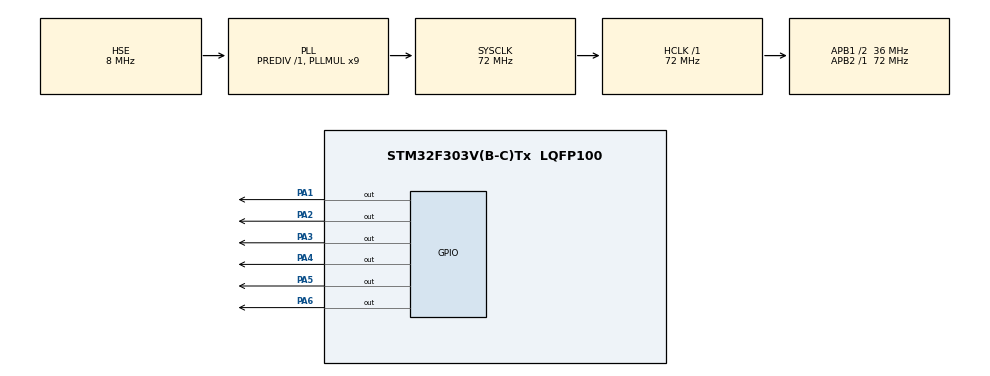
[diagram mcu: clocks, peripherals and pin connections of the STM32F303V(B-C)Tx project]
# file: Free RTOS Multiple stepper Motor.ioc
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FREERTOS.Tasks01=Motor1,0,128,StartMotor1,Default,NULL,Dynamic,NULL,NULL;Motor2,-3,128,StartMotor2,Default,NULL,Dynamic,NULL,NULL
FREERTOS.configUSE_NEWLIB_REENTRANT=1
Mcu.Family=STM32F3
Mcu.Name=STM32F303V(B-C)Tx
Mcu.Package=LQFP100
NVIC.PriorityGroup=NVIC_PRIORITYGROUP_4
NVIC.TIM3_IRQn=true\:15\:0\:false\:false\:true\:false\:false\:true\:true
NVIC.TimeBase=TIM3_IRQn
NVIC.TimeBaseIP=TIM3
PA1.Signal=GPIO_Output
PA13.Mode=Serial_Wire
PA13.Signal=SYS_JTMS-SWDIO
PA14.Mode=Serial_Wire
PA14.Signal=SYS_JTCK-SWCLK
PA2.Signal=GPIO_Output
PA3.Signal=GPIO_Output
PA4.Signal=GPIO_Output
PA5.Signal=GPIO_Output
PA6.Signal=GPIO_Output
PF0-OSC_IN.Mode=HSE-External-Oscillator
PF0-OSC_IN.Signal=RCC_OSC_IN
PF1-OSC_OUT.Mode=HSE-External-Oscillator
PF1-OSC_OUT.Signal=RCC_OSC_OUT
ProjectManager.HeapSize=0x200
ProjectManager.StackSize=0x400
ProjectManager.TargetToolchain=STM32CubeIDE
RCC.AHBFreq_Value=72000000
RCC.APB1CLKDivider=RCC_HCLK_DIV2
RCC.APB1Freq_Value=36000000
RCC.APB1TimFreq_Value=72000000
RCC.APB2Freq_Value=72000000
RCC.APB2TimFreq_Value=72000000
RCC.CortexFreq_Value=72000000
RCC.HCLKFreq_Value=72000000
RCC.HSE_VALUE=8000000
RCC.HSI_VALUE=8000000
RCC.LSE_VALUE=32768
RCC.PLLMUL=RCC_PLL_MUL9
RCC.PLLSourceVirtual=RCC_PLLSOURCE_HSE
RCC.SYSCLKFreq_VALUE=72000000
RCC.SYSCLKSourceVirtual=RCC_SYSCLKSOURCE_PLLCLK
RCC.USBFreq_Value=72000000
TIM1.Prescaler=71
TIM2.Prescaler=71
VP_FREERTOS_VS_CMSIS_V1.Mode=CMSIS_V1
VP_SYS_VS_tim3.Mode=TIM3
VP_TIM1_VS_ClockSourceINT.Mode=Internal
VP_TIM2_VS_ClockSourceINT.Mode=Internal
board=custom

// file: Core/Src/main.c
/* USER CODE BEGIN Header */
/**
  ******************************************************************************
  * @file           : main.c
  * @brief          : Main program body
  ******************************************************************************
  * @attention
  *
  * Copyright (c) 2024 STMicroelectronics.
  * All rights reserved.
  *
  * This software is licensed under terms that can be found in the LICENSE file
  * in the root directory of this software component.
  * If no LICENSE file comes with this software, it is provided AS-IS.
  *
  ******************************************************************************
  */
/* USER CODE END Header */
#include "main.h"
#include "cmsis_os.h"

TIM_HandleTypeDef htim1;
TIM_HandleTypeDef htim2;

osThreadId Motor1Handle;
osThreadId Motor2Handle;

void SystemClock_Config(void);
static void MX_GPIO_Init(void);
static void MX_TIM1_Init(void);
static void MX_TIM2_Init(void);
void StartMotor1(void const * argument);
void StartMotor2(void const * argument);

/* USER CODE BEGIN 0 */

#define DIR_PIN GPIO_PIN_1  // for motor1
#define DIR_PORT GPIOA      // for motor1
#define STEP_PIN GPIO_PIN_2 // for motor1
#define STEP_PORT GPIOA     // for motor1
#define IN1_PIN GPIO_PIN_6  // for motor2
#define IN1_PORT GPIOA      // for motor2
#define IN2_PIN GPIO_PIN_5  // for motor2
#define IN2_PORT GPIOA      // for motor2
#define IN3_PIN GPIO_PIN_4  // for motor2
#define IN3_PORT GPIOA      // for motor2
#define IN4_PIN GPIO_PIN_3  // for motor2
#define IN4_PORT GPIOA      // for motor2

// micro seconds delay for motor1
void microDelay1 (uint16_t delay)
{
  __HAL_TIM_SET_COUNTER(&htim1, 0);
  while (__HAL_TIM_GET_COUNTER(&htim1) < delay);
}

// micro seconds delay for motor2
void microDelay2 (uint16_t delay)
{
  __HAL_TIM_SET_COUNTER(&htim2, 0);
  while (__HAL_TIM_GET_COUNTER(&htim2) < delay);
}

// motor1 for both directions
void step (int steps, uint8_t direction, uint16_t delay)
{
  int x;
  if (direction == 0)
    HAL_GPIO_WritePin(DIR_PORT, DIR_PIN, GPIO_PIN_SET);
  else
    HAL_GPIO_WritePin(DIR_PORT, DIR_PIN, GPIO_PIN_RESET);
  for(x=0; x<steps; x=x+1)
  {
    HAL_GPIO_WritePin(STEP_PORT, STEP_PIN, GPIO_PIN_SET);
    microDelay1(delay);
    HAL_GPIO_WritePin(STEP_PORT, STEP_PIN, GPIO_PIN_RESET);
    microDelay1(delay);
  }
}
// CCV - Counter Clockwise motor2
void stepCCV (int steps, uint16_t delay)
{
  for(int x=0; x<steps; x=x+1)
  {
    HAL_GPIO_WritePin(IN1_PORT, IN1_PIN, GPIO_PIN_SET);   // IN1
    HAL_GPIO_WritePin(IN2_PORT, IN2_PIN, GPIO_PIN_RESET); // IN2
    HAL_GPIO_WritePin(IN3_PORT, IN3_PIN, GPIO_PIN_RESET); // IN3
    HAL_GPIO_WritePin(IN4_PORT, IN4_PIN, GPIO_PIN_RESET); // IN4
    microDelay2(delay);
    HAL_GPIO_WritePin(IN1_PORT, IN1_PIN, GPIO_PIN_SET);   // IN1
    HAL_GPIO_WritePin(IN2_PORT, IN2_PIN, GPIO_PIN_SET);   // IN2
    HAL_GPIO_WritePin(IN3_PORT, IN3_PIN, GPIO_PIN_RESET); // IN3
    HAL_GPIO_WritePin(IN4_PORT, IN4_PIN, GPIO_PIN_RESET); // IN4
    microDelay2(delay);
    HAL_GPIO_WritePin(IN1_PORT, IN1_PIN, GPIO_PIN_RESET); // IN1
    HAL_GPIO_WritePin(IN2_PORT, IN2_PIN, GPIO_PIN_SET);   // IN2
    HAL_GPIO_WritePin(IN3_PORT, IN3_PIN, GPIO_PIN_RESET); // IN3
    HAL_GPIO_WritePin(IN4_PORT, IN4_PIN, GPIO_PIN_RESET); // IN4
    microDelay2(delay);
    HAL_GPIO_WritePin(IN1_PORT, IN1_PIN, GPIO_PIN_RESET); // IN1
    HAL_GPIO_WritePin(IN2_PORT, IN2_PIN, GPIO_PIN_SET);   // IN2
    HAL_GPIO_WritePin(IN3_PORT, IN3_PIN, GPIO_PIN_SET);   // IN3
    HAL_GPIO_WritePin(IN4_PORT, IN4_PIN, GPIO_PIN_RESET); // IN4
    microDelay2(delay);
    HAL_GPIO_WritePin(IN1_PORT, IN1_PIN, GPIO_PIN_RESET); // IN1
    HAL_GPIO_WritePin(IN2_PORT, IN2_PIN, GPIO_PIN_RESET); // IN2
    HAL_GPIO_WritePin(IN3_PORT, IN3_PIN, GPIO_PIN_SET);   // IN3
    HAL_GPIO_WritePin(IN4_PORT, IN4_PIN, GPIO_PIN_RESET); // IN4
    microDelay2(delay);
    HAL_GPIO_WritePin(IN1_PORT, IN1_PIN, GPIO_PIN_RESET); // IN1
    HAL_GPIO_WritePin(IN2_PORT, IN2_PIN, GPIO_PIN_RESET); // IN2
    HAL_GPIO_WritePin(IN3_PORT, IN3_PIN, GPIO_PIN_SET);   // IN3
    HAL_GPIO_WritePin(IN4_PORT, IN4_PIN, GPIO_PIN_SET);   // IN4
    microDelay2(delay);
    HAL_GPIO_WritePin(IN1_PORT, IN1_PIN, GPIO_PIN_RESET); // IN1
    HAL_GPIO_WritePin(IN2_PORT, IN2_PIN, GPIO_PIN_RESET); // IN2
    HAL_GPIO_WritePin(IN3_PORT, IN3_PIN, GPIO_PIN_RESET); // IN3
    HAL_GPIO_WritePin(IN4_PORT, IN4_PIN, GPIO_PIN_SET);   // IN4
    microDelay2(delay);
    HAL_GPIO_WritePin(IN1_PORT, IN1_PIN, GPIO_PIN_SET);   // IN1
    HAL_GPIO_WritePin(IN2_PORT, IN2_PIN, GPIO_PIN_RESET); // IN2
    HAL_GPIO_WritePin(IN3_PORT, IN3_PIN, GPIO_PIN_RESET); // IN3
    HAL_GPIO_WritePin(IN4_PORT, IN4_PIN, GPIO_PIN_SET);   // IN4
    microDelay2(delay);
  }
}

// CV - Clockwise motor1
void stepCV (int steps, uint16_t delay)
{
  for(int x=0; x<steps; x=x+1)
  {
    HAL_GPIO_WritePin(IN1_PORT, IN1_PIN, GPIO_PIN_SET);   // IN1
    HAL_GPIO_WritePin(IN2_PORT, IN2_PIN, GPIO_PIN_RESET); // IN2
    HAL_GPIO_WritePin(IN3_PORT, IN3_PIN, GPIO_PIN_RESET); // IN3
    HAL_GPIO_WritePin(IN4_PORT, IN4_PIN, GPIO_PIN_SET);   // IN4
    microDelay2(delay);
    HAL_GPIO_WritePin(IN1_PORT, IN1_PIN, GPIO_PIN_RESET); // IN1
    HAL_GPIO_WritePin(IN2_PORT, IN2_PIN, GPIO_PIN_RESET); // IN2
    HAL_GPIO_WritePin(IN3_PORT, IN3_PIN, GPIO_PIN_RESET); // IN3
    HAL_GPIO_WritePin(IN4_PORT, IN4_PIN, GPIO_PIN_SET);   // IN4
    microDelay2(delay);
    HAL_GPIO_WritePin(IN1_PORT, IN1_PIN, GPIO_PIN_RESET); // IN1
    HAL_GPIO_WritePin(IN2_PORT, IN2_PIN, GPIO_PIN_RESET); // IN2
    HAL_GPIO_WritePin(IN3_PORT, IN3_PIN, GPIO_PIN_SET);   // IN3
    HAL_GPIO_WritePin(IN4_PORT, IN4_PIN, GPIO_PIN_SET);   // IN4
    microDelay2(delay);
    HAL_GPIO_WritePin(IN1_PORT, IN1_PIN, GPIO_PIN_RESET); // IN1
    HAL_GPIO_WritePin(IN2_PORT, IN2_PIN, GPIO_PIN_RESET); // IN2
    HAL_GPIO_WritePin(IN3_PORT, IN3_PIN, GPIO_PIN_SET);   // IN3
    HAL_GPIO_WritePin(IN4_PORT, IN4_PIN, GPIO_PIN_RESET); // IN4
    microDelay2(delay);
    HAL_GPIO_WritePin(IN1_PORT, IN1_PIN, GPIO_PIN_RESET); // IN1
    HAL_GPIO_WritePin(IN2_PORT, IN2_PIN, GPIO_PIN_SET);   // IN2
    HAL_GPIO_WritePin(IN3_PORT, IN3_PIN, GPIO_PIN_SET);   // IN3
    HAL_GPIO_WritePin(IN4_PORT, IN4_PIN, GPIO_PIN_RESET); // IN4
    microDelay2(delay);
    HAL_GPIO_WritePin(IN1_PORT, IN1_PIN, GPIO_PIN_RESET); // IN1
    HAL_GPIO_WritePin(IN2_PORT, IN2_PIN, GPIO_PIN_SET);   // IN2
    HAL_GPIO_WritePin(IN3_PORT, IN3_PIN, GPIO_PIN_RESET); // IN3
    HAL_GPIO_WritePin(IN4_PORT, IN4_PIN, GPIO_PIN_RESET); // IN4
    microDelay2(delay);
    HAL_GPIO_WritePin(IN1_PORT, IN1_PIN, GPIO_PIN_SET);   // IN1
    HAL_GPIO_WritePin(IN2_PORT, IN2_PIN, GPIO_PIN_SET);   // IN2
    HAL_GPIO_WritePin(IN3_PORT, IN3_PIN, GPIO_PIN_RESET); // IN3
    HAL_GPIO_WritePin(IN4_PORT, IN4_PIN, GPIO_PIN_RESET); // IN4
    microDelay2(delay);
    HAL_GPIO_WritePin(IN1_PORT, IN1_PIN, GPIO_PIN_SET);   // IN1
    HAL_GPIO_WritePin(IN2_PORT, IN2_PIN, GPIO_PIN_RESET); // IN2
    HAL_GPIO_WritePin(IN3_PORT, IN3_PIN, GPIO_PIN_RESET); // IN3
    HAL_GPIO_WritePin(IN4_PORT, IN4_PIN, GPIO_PIN_RESET); // IN4
    microDelay2(delay);
  }
}

/* USER CODE END 0 */

int main(void)
{

  /* MCU Configuration--------------------------------------------------------*/

  /* Reset of all peripherals, Initializes the Flash interface and the Systick. */
  HAL_Init();

  /* Configure the system clock */
  SystemClock_Config();

  /* Initialize all configured peripherals */
  MX_GPIO_Init();
  MX_TIM1_Init();
  MX_TIM2_Init();
  /* USER CODE BEGIN 2 */

  HAL_TIM_Base_Start(&htim1);
  HAL_TIM_Base_Start(&htim2);

  /* USER CODE END 2 */

  /* Create the thread(s) */
  /* definition and creation of Motor1 */
  osThreadDef(Motor1, StartMotor1, osPriorityNormal, 0, 128);
  Motor1Handle = osThreadCreate(osThread(Motor1), NULL);

  /* definition and creation of Motor2 */
  osThreadDef(Motor2, StartMotor2, osPriorityIdle, 0, 128);
  Motor2Handle = osThreadCreate(osThread(Motor2), NULL);

  /* Start scheduler */
  osKernelStart();

  /* We should never get here as control is now taken by the scheduler */
  /* Infinite loop */
  while (1)
  {

  }
}

void SystemClock_Config(void)
{
  RCC_OscInitTypeDef RCC_OscInitStruct = {0};
  RCC_ClkInitTypeDef RCC_ClkInitStruct = {0};
  RCC_PeriphCLKInitTypeDef PeriphClkInit = {0};

  /** Initializes the RCC Oscillators according to the specified parameters
  * in the RCC_OscInitTypeDef structure.
  */
  RCC_OscInitStruct.OscillatorType = RCC_OSCILLATORTYPE_HSE;
  RCC_OscInitStruct.HSEState = RCC_HSE_ON;
  RCC_OscInitStruct.HSEPredivValue = RCC_HSE_PREDIV_DIV1;
  RCC_OscInitStruct.HSIState = RCC_HSI_ON;
  RCC_OscInitStruct.PLL.PLLState = RCC_PLL_ON;
  RCC_OscInitStruct.PLL.PLLSource = RCC_PLLSOURCE_HSE;
  RCC_OscInitStruct.PLL.PLLMUL = RCC_PLL_MUL9;
  if (HAL_RCC_OscConfig(&RCC_OscInitStruct) != HAL_OK)
  {
    Error_Handler();
  }

  /** Initializes the CPU, AHB and APB buses clocks
  */
  RCC_ClkInitStruct.ClockType = RCC_CLOCKTYPE_HCLK|RCC_CLOCKTYPE_SYSCLK
                              |RCC_CLOCKTYPE_PCLK1|RCC_CLOCKTYPE_PCLK2;
  RCC_ClkInitStruct.SYSCLKSource = RCC_SYSCLKSOURCE_PLLCLK;
  RCC_ClkInitStruct.AHBCLKDivider = RCC_SYSCLK_DIV1;
  RCC_ClkInitStruct.APB1CLKDivider = RCC_HCLK_DIV2;
  RCC_ClkInitStruct.APB2CLKDivider = RCC_HCLK_DIV1;

  if (HAL_RCC_ClockConfig(&RCC_ClkInitStruct, FLASH_LATENCY_2) != HAL_OK)
  {
    Error_Handler();
  }
  PeriphClkInit.PeriphClockSelection = RCC_PERIPHCLK_TIM1;
  PeriphClkInit.Tim1ClockSelection = RCC_TIM1CLK_HCLK;
  if (HAL_RCCEx_PeriphCLKConfig(&PeriphClkInit) != HAL_OK)
  {
    Error_Handler();
  }
}

static void MX_TIM1_Init(void)
{

  TIM_ClockConfigTypeDef sClockSourceConfig = {0};
  TIM_MasterConfigTypeDef sMasterConfig = {0};

  htim1.Instance = TIM1;
  htim1.Init.Prescaler = 71;
  htim1.Init.CounterMode = TIM_COUNTERMODE_UP;
  htim1.Init.Period = 65535;
  htim1.Init.ClockDivision = TIM_CLOCKDIVISION_DIV1;
  htim1.Init.RepetitionCounter = 0;
  htim1.Init.AutoReloadPreload = TIM_AUTORELOAD_PRELOAD_DISABLE;
  if (HAL_TIM_Base_Init(&htim1) != HAL_OK)
  {
    Error_Handler();
  }
  sClockSourceConfig.ClockSource = TIM_CLOCKSOURCE_INTERNAL;
  if (HAL_TIM_ConfigClockSource(&htim1, &sClockSourceConfig) != HAL_OK)
  {
    Error_Handler();
  }
  sMasterConfig.MasterOutputTrigger = TIM_TRGO_RESET;
  sMasterConfig.MasterOutputTrigger2 = TIM_TRGO2_RESET;
  sMasterConfig.MasterSlaveMode = TIM_MASTERSLAVEMODE_DISABLE;
  if (HAL_TIMEx_MasterConfigSynchronization(&htim1, &sMasterConfig) != HAL_OK)
  {
    Error_Handler();
  }

}

static void MX_TIM2_Init(void)
{

  TIM_ClockConfigTypeDef sClockSourceConfig = {0};
  TIM_MasterConfigTypeDef sMasterConfig = {0};

  htim2.Instance = TIM2;
  htim2.Init.Prescaler = 71;
  htim2.Init.CounterMode = TIM_COUNTERMODE_UP;
  htim2.Init.Period = 4294967295;
  htim2.Init.ClockDivision = TIM_CLOCKDIVISION_DIV1;
  htim2.Init.AutoReloadPreload = TIM_AUTORELOAD_PRELOAD_DISABLE;
  if (HAL_TIM_Base_Init(&htim2) != HAL_OK)
  {
    Error_Handler();
  }
  sClockSourceConfig.ClockSource = TIM_CLOCKSOURCE_INTERNAL;
  if (HAL_TIM_ConfigClockSource(&htim2, &sClockSourceConfig) != HAL_OK)
  {
    Error_Handler();
  }
  sMasterConfig.MasterOutputTrigger = TIM_TRGO_RESET;
  sMasterConfig.MasterSlaveMode = TIM_MASTERSLAVEMODE_DISABLE;
  if (HAL_TIMEx_MasterConfigSynchronization(&htim2, &sMasterConfig) != HAL_OK)
  {
    Error_Handler();
  }

}

static void MX_GPIO_Init(void)
{
  GPIO_InitTypeDef GPIO_InitStruct = {0};

  /* GPIO Ports Clock Enable */
  __HAL_RCC_GPIOF_CLK_ENABLE();
  __HAL_RCC_GPIOA_CLK_ENABLE();

  /*Configure GPIO pin Output Level */
  HAL_GPIO_WritePin(GPIOA, GPIO_PIN_1|GPIO_PIN_2|GPIO_PIN_3|GPIO_PIN_4
                          |GPIO_PIN_5|GPIO_PIN_6, GPIO_PIN_RESET);

  /*Configure GPIO pins : PA1 PA2 PA3 PA4
                           PA5 PA6 */
  GPIO_InitStruct.Pin = GPIO_PIN_1|GPIO_PIN_2|GPIO_PIN_3|GPIO_PIN_4
                          |GPIO_PIN_5|GPIO_PIN_6;
  GPIO_InitStruct.Mode = GPIO_MODE_OUTPUT_PP;
  GPIO_InitStruct.Pull = GPIO_NOPULL;
  GPIO_InitStruct.Speed = GPIO_SPEED_FREQ_LOW;
  HAL_GPIO_Init(GPIOA, &GPIO_InitStruct);

}

void StartMotor1(void const * argument)
{
  /* USER CODE BEGIN 5 */
  /* Infinite loop */
  for(;;)
  {
	  for(int y=0; y<8; y=y+1) // 8 times
	      {
	        step(25, 0, 800); // 25 steps (45 degrees) CCV
	        osDelay(500);
	      }
	      step(800, 1, 5000); // 800 steps (4 revolutions ) CV
	      osDelay(1000);
  }
  /* USER CODE END 5 */
}

void StartMotor2(void const * argument)
{
  /* USER CODE BEGIN StartMotor2 */
  /* Infinite loop */
  for(;;)
  {
	  // 512 full rev & 1 rpm - 14648
	      stepCV(256, 1000);  // 256 half revolution
	      osDelay(100);
	      stepCCV(128, 1000); // 128 quarter revolution
	      osDelay(100);
  }
  /* USER CODE END StartMotor2 */
}

void HAL_TIM_PeriodElapsedCallback(TIM_HandleTypeDef *htim)
{
  if (htim->Instance == TIM3) {
    HAL_IncTick();
  }
}

void Error_Handler(void)
{
  __disable_irq();
  while (1)
  {
  }
}
